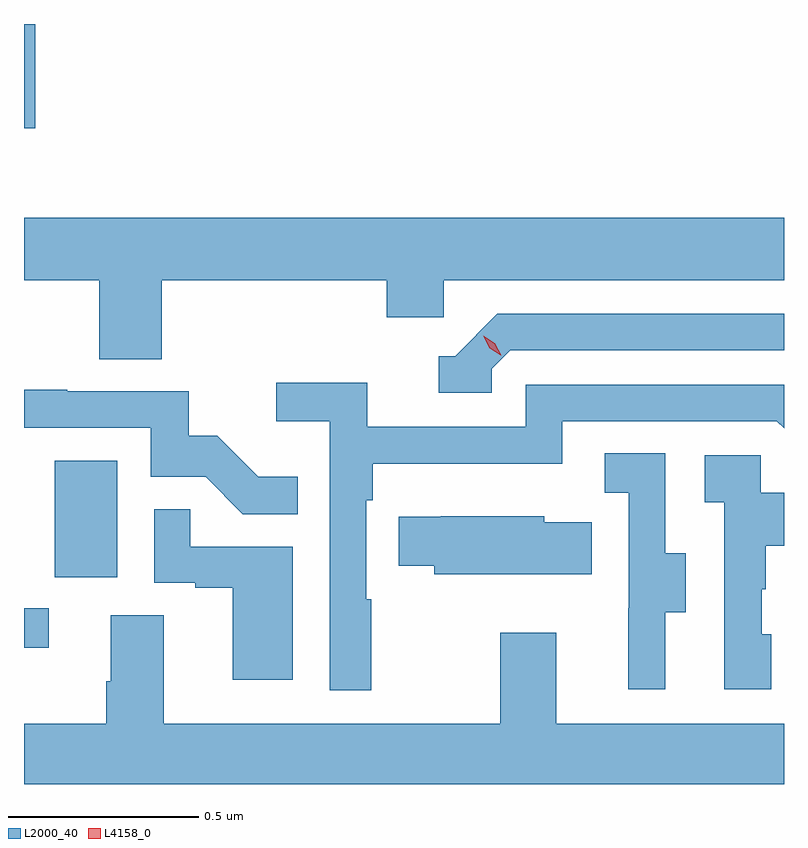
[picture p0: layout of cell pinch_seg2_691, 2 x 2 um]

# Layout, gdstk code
import gdstk
lib = gdstk.Library(unit=1e-6, precision=1e-09)
def R(c, l, rs):  # rectangles x0, y0, x1, y1
    for r in rs: c.add(gdstk.rectangle(r[:2], r[2:], *l))
def P(c, l, *ps):  # polygons
    for p in ps: c.add(gdstk.Polygon(p, *l))
L2000_40 = (2000, 40)
L4158_0 = (4158, 0)

pinch_seg2_691 = lib.new_cell('pinch_seg2_691')
R(pinch_seg2_691, L2000_40, [(1071.665,593.388,1071.73,593.493), (1071.746,593.574,1071.91,593.881), (1071.665,594.756,1071.694,595.03)])
P(pinch_seg2_691, L2000_40, [(1072.028,594.356),(1072.619,594.356),(1072.619,594.258),(1072.77,594.258),(1072.77,594.356),(1073.665,594.356),(1073.665,594.52),(1071.665,594.52),(1071.665,594.356),(1071.863,594.356),(1071.863,594.148),(1072.028,594.148)],
  [(1072.896,594.123),(1072.944,594.171),(1073.665,594.171),(1073.665,594.267),(1072.911,594.267),(1072.8,594.156),(1072.757,594.156),(1072.757,594.06),(1072.896,594.06)],
  [(1072.579,593.516),(1072.566,593.516),(1072.566,593.777),(1072.583,593.777),(1072.583,593.873),(1073.082,593.873),(1073.082,593.985),(1073.646,593.985),(1073.665,593.966),(1073.665,594.081),(1072.986,594.081),(1072.986,593.97),(1072.568,593.97),(1072.568,594.086),(1072.329,594.086),(1072.329,593.984),(1072.47,593.984),(1072.47,593.277),(1072.579,593.277)],
  [(1072.385,593.839),(1072.281,593.839),(1072.174,593.946),(1072.098,593.946),(1072.098,594.063),(1071.779,594.063),(1071.779,594.068),(1071.665,594.068),(1071.665,593.967),(1071.999,593.967),(1071.999,593.838),(1072.143,593.838),(1072.241,593.74),(1072.385,593.74)],
  [(1073.353,593.482),(1073.407,593.482),(1073.407,593.637),(1073.352,593.637),(1073.352,593.9),(1073.193,593.9),(1073.193,593.797),(1073.256,593.797),(1073.256,593.493),(1073.255,593.493),(1073.255,593.28),(1073.353,593.28)],
  [(1073.632,593.424),(1073.607,593.424),(1073.607,593.543),(1073.617,593.543),(1073.617,593.657),(1073.665,593.657),(1073.665,593.797),(1073.604,593.797),(1073.604,593.895),(1073.457,593.895),(1073.457,593.771),(1073.508,593.771),(1073.508,593.28),(1073.632,593.28)],
  [(1072.372,593.655),(1072.103,593.655),(1072.103,593.753),(1072.008,593.753),(1072.008,593.559),(1072.115,593.559),(1072.115,593.547),(1072.214,593.547),(1072.214,593.304),(1072.372,593.304)],
  [(1073.159,593.719),(1073.034,593.719),(1073.034,593.734),(1072.762,593.734),(1072.762,593.733),(1072.651,593.733),(1072.651,593.605),(1072.745,593.605),(1072.745,593.582),(1073.159,593.582)],
  [(1073.665,593.188),(1073.065,593.188),(1073.065,593.428),(1072.918,593.428),(1072.918,593.188),(1072.033,593.188),(1072.033,593.474),(1071.893,593.474),(1071.893,593.3),(1071.881,593.3),(1071.881,593.188),(1071.665,593.188),(1071.665,593.03),(1073.665,593.03)])
P(pinch_seg2_691, L4158_0, [(1072.92,594.158),(1072.89,594.177),(1072.873,594.209),(1072.873,594.209),(1072.874,594.209),(1072.904,594.19),(1072.921,594.158),(1072.921,594.158)])

lib.write_gds('pinch_seg2_691.gds')
